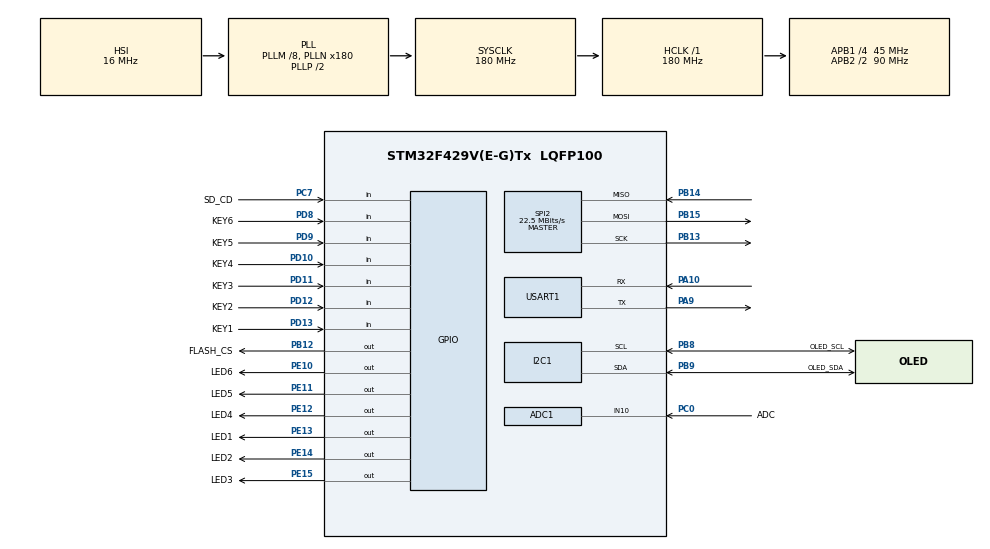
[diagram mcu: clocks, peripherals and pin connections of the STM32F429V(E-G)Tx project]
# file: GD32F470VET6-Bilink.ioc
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ADC1.Channel-0\#ChannelRegularConversion=ADC_CHANNEL_10
ADC1.NbrOfConversionFlag=1
ADC1.Rank-0\#ChannelRegularConversion=1
ADC1.SamplingTime-0\#ChannelRegularConversion=ADC_SAMPLETIME_3CYCLES
ADC1.master=1
Dma.I2C1_RX.2.Direction=DMA_PERIPH_TO_MEMORY
Dma.I2C1_RX.2.FIFOMode=DMA_FIFOMODE_DISABLE
Dma.I2C1_RX.2.Instance=DMA1_Stream0
Dma.I2C1_RX.2.MemDataAlignment=DMA_MDATAALIGN_BYTE
Dma.I2C1_RX.2.MemInc=DMA_MINC_ENABLE
Dma.I2C1_RX.2.Mode=DMA_NORMAL
Dma.I2C1_RX.2.PeriphDataAlignment=DMA_PDATAALIGN_BYTE
Dma.I2C1_RX.2.PeriphInc=DMA_PINC_DISABLE
Dma.I2C1_RX.2.Priority=DMA_PRIORITY_LOW
Dma.I2C1_TX.3.Direction=DMA_MEMORY_TO_PERIPH
Dma.I2C1_TX.3.FIFOMode=DMA_FIFOMODE_DISABLE
Dma.I2C1_TX.3.Instance=DMA1_Stream6
Dma.I2C1_TX.3.MemDataAlignment=DMA_MDATAALIGN_BYTE
Dma.I2C1_TX.3.MemInc=DMA_MINC_ENABLE
Dma.I2C1_TX.3.Mode=DMA_NORMAL
Dma.I2C1_TX.3.PeriphDataAlignment=DMA_PDATAALIGN_BYTE
Dma.I2C1_TX.3.PeriphInc=DMA_PINC_DISABLE
Dma.I2C1_TX.3.Priority=DMA_PRIORITY_LOW
Dma.Request0=USART1_RX
Dma.Request1=USART1_TX
Dma.Request2=I2C1_RX
Dma.Request3=I2C1_TX
Dma.USART1_RX.0.Direction=DMA_PERIPH_TO_MEMORY
Dma.USART1_RX.0.FIFOMode=DMA_FIFOMODE_DISABLE
Dma.USART1_RX.0.Instance=DMA2_Stream2
Dma.USART1_RX.0.MemDataAlignment=DMA_MDATAALIGN_BYTE
Dma.USART1_RX.0.MemInc=DMA_MINC_ENABLE
Dma.USART1_RX.0.Mode=DMA_NORMAL
Dma.USART1_RX.0.PeriphDataAlignment=DMA_PDATAALIGN_BYTE
Dma.USART1_RX.0.PeriphInc=DMA_PINC_DISABLE
Dma.USART1_RX.0.Priority=DMA_PRIORITY_MEDIUM
Dma.USART1_TX.1.Direction=DMA_MEMORY_TO_PERIPH
Dma.USART1_TX.1.FIFOMode=DMA_FIFOMODE_DISABLE
Dma.USART1_TX.1.Instance=DMA2_Stream7
Dma.USART1_TX.1.MemDataAlignment=DMA_MDATAALIGN_BYTE
Dma.USART1_TX.1.MemInc=DMA_MINC_ENABLE
Dma.USART1_TX.1.Mode=DMA_NORMAL
Dma.USART1_TX.1.PeriphDataAlignment=DMA_PDATAALIGN_BYTE
Dma.USART1_TX.1.PeriphInc=DMA_PINC_DISABLE
Dma.USART1_TX.1.Priority=DMA_PRIORITY_MEDIUM
I2C1.I2C_Mode=I2C_Fast
Mcu.Family=STM32F4
Mcu.Name=STM32F429V(E-G)Tx
Mcu.Package=LQFP100
NVIC.DMA1_Stream0_IRQn=true\:0\:0\:false\:false\:true\:false\:true\:true
NVIC.DMA1_Stream6_IRQn=true\:0\:0\:false\:false\:true\:false\:true\:true
NVIC.DMA2_Stream2_IRQn=true\:0\:0\:false\:false\:true\:false\:true\:true
NVIC.DMA2_Stream7_IRQn=true\:0\:0\:false\:false\:true\:false\:true\:true
NVIC.PriorityGroup=NVIC_PRIORITYGROUP_4
NVIC.USART1_IRQn=true\:0\:0\:false\:false\:true\:true\:true\:true
PA10.Mode=Asynchronous
PA10.Signal=USART1_RX
PA9.Mode=Asynchronous
PA9.Signal=USART1_TX
PB12.GPIO_Label=FLASH_CS
PB12.Signal=GPIO_Output
PB13.Mode=Full_Duplex_Master
PB13.Signal=SPI2_SCK
PB14.Mode=Full_Duplex_Master
PB14.Signal=SPI2_MISO
PB15.Mode=Full_Duplex_Master
PB15.Signal=SPI2_MOSI
PB8.GPIO_Label=OLED_SCL
PB8.Mode=I2C
PB8.Signal=I2C1_SCL
PB9.GPIO_Label=OLED_SDA
PB9.Mode=I2C
PB9.Signal=I2C1_SDA
PC0.GPIO_Label=ADC
PC0.Signal=ADCx_IN10
PC10.Signal=SDIO_D2
PC11.Signal=SDIO_D3
PC12.Signal=SDIO_CK
PC14/OSC32_IN.Mode=LSE-External-Oscillator
PC14/OSC32_IN.Signal=RCC_OSC32_IN
PC15/OSC32_OUT.Mode=LSE-External-Oscillator
PC15/OSC32_OUT.Signal=RCC_OSC32_OUT
PC7.GPIO_Label=SD_CD
PC7.Signal=GPIO_Input
PC8.Signal=SDIO_D0
PC9.Signal=SDIO_D1
PD10.GPIO_Label=KEY4
PD10.Signal=GPIO_Input
PD11.GPIO_Label=KEY3
PD11.Signal=GPIO_Input
PD12.GPIO_Label=KEY2
PD12.Signal=GPIO_Input
PD13.GPIO_Label=KEY1
PD13.Signal=GPIO_Input
PD2.Signal=SDIO_CMD
PD8.GPIO_Label=KEY6
PD8.Signal=GPIO_Input
PD9.GPIO_Label=KEY5
PD9.Signal=GPIO_Input
PE10.GPIO_Label=LED6
PE10.Signal=GPIO_Output
PE11.GPIO_Label=LED5
PE11.Signal=GPIO_Output
PE12.GPIO_Label=LED4
PE12.Signal=GPIO_Output
PE13.GPIO_Label=LED1
PE13.Signal=GPIO_Output
PE14.GPIO_Label=LED2
PE14.Signal=GPIO_Output
PE15.GPIO_Label=LED3
PE15.Signal=GPIO_Output
PH0/OSC_IN.Mode=HSE-External-Oscillator
PH0/OSC_IN.Signal=RCC_OSC_IN
PH1/OSC_OUT.Mode=HSE-External-Oscillator
PH1/OSC_OUT.Signal=RCC_OSC_OUT
ProjectManager.HeapSize=0x200
ProjectManager.StackSize=0x2000
ProjectManager.TargetToolchain=STM32CubeIDE
RCC.48MHZClocksFreq_Value=45000000
RCC.AHBFreq_Value=180000000
RCC.APB1CLKDivider=RCC_HCLK_DIV4
RCC.APB1Freq_Value=45000000
RCC.APB1TimFreq_Value=90000000
RCC.APB2CLKDivider=RCC_HCLK_DIV2
RCC.APB2Freq_Value=90000000
RCC.APB2TimFreq_Value=180000000
RCC.CortexFreq_Value=180000000
RCC.HCLKFreq_Value=180000000
RCC.HSE_VALUE=25000000
RCC.HSI_VALUE=16000000
RCC.PLLM=8
RCC.PLLN=180
RCC.PLLQ=8
RCC.SYSCLKFreq_VALUE=180000000
RCC.SYSCLKSource=RCC_SYSCLKSOURCE_PLLCLK
RCC.VCOOutputFreq_Value=360000000
SH.ADCx_IN10.0=ADC1_IN10,IN10
SPI2.CalculateBaudRate=22.5 MBits/s
SPI2.Direction=SPI_DIRECTION_2LINES
SPI2.Mode=SPI_MODE_MASTER
SPI2.VirtualType=VM_MASTER
TIM2.Prescaler=179
USART1.VirtualMode=VM_ASYNC
VP_TIM2_VS_ClockSourceINT.Mode=Internal
board=custom

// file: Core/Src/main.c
/* USER CODE BEGIN Header */
/**
  ******************************************************************************
  * @file           : main.c
  * @brief          : Main program body
  ******************************************************************************
  * @attention
  *
  * Copyright (c) 2025 STMicroelectronics.
  * All rights reserved.
  *
  * This software is licensed under terms that can be found in the LICENSE file
  * in the root directory of this software component.
  * If no LICENSE file comes with this software, it is provided AS-IS.
  *
  ******************************************************************************
  */
/* USER CODE END Header */
#include "main.h"
#include "adc.h"
#include "dma.h"
#include "i2c.h"
#include "spi.h"
#include "tim.h"
#include "usart.h"
#include "gpio.h"

/* USER CODE BEGIN Includes */
#include "gd25q40e.h"
#include "gui.h"
/* USER CODE END Includes */

/* USER CODE BEGIN PV */
uint16_t adc_value;
uint16_t flash_id;

char pBuffer[64] = "Southern Medical University", strBuffer[1024];

u8g2_t u8g2;
/* USER CODE END PV */

void SystemClock_Config(void);

/* USER CODE BEGIN 0 */
#ifdef __GNUC__
#define PUTCHAR_PROTOTYPE int __io_putchar(int ch)
#define GETCHAR_PROTOTYPE int __io_getchar(void)
#else
#define PUTCHAR_PROTOTYPE int fputc(int ch, FILE *f)
#define GETCHAR_PROTOTYPE int fgetc(FILE *f)
#endif

void print(const char *format, ...) {
    va_list args;
    va_start(args, format);
    vsnprintf(strBuffer, sizeof(strBuffer), format, args);
    va_end(args);
    HAL_UART_Transmit_DMA(&huart1, (uint8_t *) strBuffer, strlen(strBuffer));
}

//PUTCHAR_PROTOTYPE {
//    uint8_t ch = 0;
//    HAL_UART_Transmit_DMA(&huart1, (uint8_t *) &ch, 1);
//    return ch;
//}

GETCHAR_PROTOTYPE {
    uint8_t ch = 0;
    HAL_UART_Receive_DMA(&huart1, (uint8_t *) &ch, 1);
    if (ch == '\r' || ch == '\n') ch = '\0';
    print("%c", ch);
    return ch;
}
/* USER CODE END 0 */

int main(void)
{

  /* MCU Configuration--------------------------------------------------------*/

  /* Reset of all peripherals, Initializes the Flash interface and the Systick. */
  HAL_Init();

  /* Configure the system clock */
  SystemClock_Config();

  /* Initialize all configured peripherals */
  MX_GPIO_Init();
  MX_DMA_Init();
  MX_ADC1_Init();
  MX_I2C1_Init();
  MX_SPI2_Init();
  MX_USART1_UART_Init();
  MX_TIM2_Init();
  /* USER CODE BEGIN 2 */
    ui_Init(&u8g2);
//    GD25Q40_Write_Page(pBuffer, 0, 64);
//    GD25Q40_Wait_Busy();
    GD25Q40_Read(strBuffer, 0, 64);
    print("%s\n", strBuffer);

  /* USER CODE END 2 */

  /* Infinite loop */
  /* USER CODE BEGIN WHILE */
    while (1) {
//        HAL_ADC_Start_IT(&hadc1);
//        adc_value = HAL_ADC_GetValue(&hadc1);
//        print("%d\n", adc_value);
//        HAL_Delay(100);
        u8g2_FirstPage(&u8g2);
        do {
            ui_Proc(&u8g2);
            Scan_Key();
        } while (u8g2_NextPage(&u8g2));
    }
    /* USER CODE END WHILE */

}

void SystemClock_Config(void)
{
  RCC_OscInitTypeDef RCC_OscInitStruct = {0};
  RCC_ClkInitTypeDef RCC_ClkInitStruct = {0};

  /** Configure the main internal regulator output voltage
  */
  __HAL_RCC_PWR_CLK_ENABLE();
  __HAL_PWR_VOLTAGESCALING_CONFIG(PWR_REGULATOR_VOLTAGE_SCALE1);

  /** Initializes the RCC Oscillators according to the specified parameters
  * in the RCC_OscInitTypeDef structure.
  */
  RCC_OscInitStruct.OscillatorType = RCC_OSCILLATORTYPE_HSI;
  RCC_OscInitStruct.HSIState = RCC_HSI_ON;
  RCC_OscInitStruct.HSICalibrationValue = RCC_HSICALIBRATION_DEFAULT;
  RCC_OscInitStruct.PLL.PLLState = RCC_PLL_ON;
  RCC_OscInitStruct.PLL.PLLSource = RCC_PLLSOURCE_HSI;
  RCC_OscInitStruct.PLL.PLLM = 8;
  RCC_OscInitStruct.PLL.PLLN = 180;
  RCC_OscInitStruct.PLL.PLLP = RCC_PLLP_DIV2;
  RCC_OscInitStruct.PLL.PLLQ = 8;
  if (HAL_RCC_OscConfig(&RCC_OscInitStruct) != HAL_OK)
  {
    Error_Handler();
  }

  /** Activate the Over-Drive mode
  */
  if (HAL_PWREx_EnableOverDrive() != HAL_OK)
  {
    Error_Handler();
  }

  /** Initializes the CPU, AHB and APB buses clocks
  */
  RCC_ClkInitStruct.ClockType = RCC_CLOCKTYPE_HCLK|RCC_CLOCKTYPE_SYSCLK
                              |RCC_CLOCKTYPE_PCLK1|RCC_CLOCKTYPE_PCLK2;
  RCC_ClkInitStruct.SYSCLKSource = RCC_SYSCLKSOURCE_PLLCLK;
  RCC_ClkInitStruct.AHBCLKDivider = RCC_SYSCLK_DIV1;
  RCC_ClkInitStruct.APB1CLKDivider = RCC_HCLK_DIV4;
  RCC_ClkInitStruct.APB2CLKDivider = RCC_HCLK_DIV2;

  if (HAL_RCC_ClockConfig(&RCC_ClkInitStruct, FLASH_LATENCY_5) != HAL_OK)
  {
    Error_Handler();
  }
}

void Error_Handler(void)
{
    __disable_irq();
    while (1) {
    }
}
